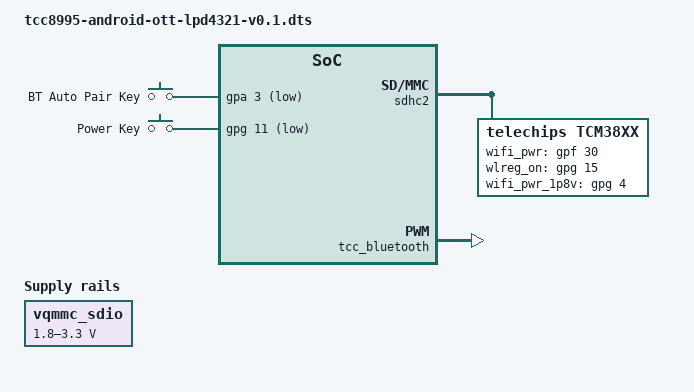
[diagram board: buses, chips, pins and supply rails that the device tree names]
// SPDX-License-Identifier: (GPL-2.0+ OR MIT)
/*
 * Device tree for Telechips TCC8990 STB board
 *
 * Copyright (C) 2018 Telechips Inc. - http://www.telechips.com
*/

#ifndef DT_OVERLAY
/dts-v1/;
#endif

#include "tcc8995-android-ott.dtsi"

&vqmmc_sdio {
	compatible = "regulator-gpio";
	regulator-name = "vqmmc_sdio";
	regulator-min-microvolt = <1800000>;
	regulator-max-microvolt = <3300000>;
	regulator-type = "voltage";
	regulator-ramp-delay = <10>;
	regulator-always-on;

	gpios = <&gpc 25 0x4>;
	gpios-states = <0>;
	states = < 1800000 0x0 3300000 0x1>;
};

&sdhc2 {
	compatible = "telechips,tcc-sdhci";
	//tcc-mmc-channel-mux = <2>;
	//tcc-mmc-clk-out-tap = <29>;
	//tcc-mmc-cmd-tap = <4>;
	//tcc-mmc-data-tap = <4>;

	//non-removable;
	keep-power-in-suspend;
	cap-sdio-irq;

	vqmmc-supply = <&vqmmc_sdio>;

	cd-force-presence-change;

	tcm38xx {
		compatible = "telechips,tcm38xx";
		wifi_pwr-gpio = <&gpf 30 0>;
		wlreg_on-gpio = <&gpg 15 0>;
		wifi_pwr_1p8v-gpio = <&gpg 4 0>;
		//wifi_pwr_3p3v-gpio = <&gpsd1 7 0>;
	};
};

&tcc_bluetooth {
	compatible = "telechips, tcc_bluetooth";
	bt_power-gpio = <&gpf 30 0>; /* BTWIFI_VBAT_EN */
	bt_reg_on-gpio = <&gpc 21 0>;
	bt_wake-gpio = <&gpc 20 0>;
	bt_hwake-gpio = <&gpc 22 0>;
	bt_power_1p8v-gpio = <&gpg 4 0>;
	status = "okay";
};

&gpio_keys_polled {
        compatible = "gpio-keys-polled";
        #address-cells = <1>;
        #size-cells = <0>;
        poll-interval = <100>;
        autorepeat;
        button@0 {
                label = "BT Auto Pair Key";
                linux,code = <218>;
                gpios = <&gpa 3 1>;
        };
        button@1 {
                label = "Power Key";
                linux,code = <116>;
                gpios = <&gpg 11 1>;
        };
};
